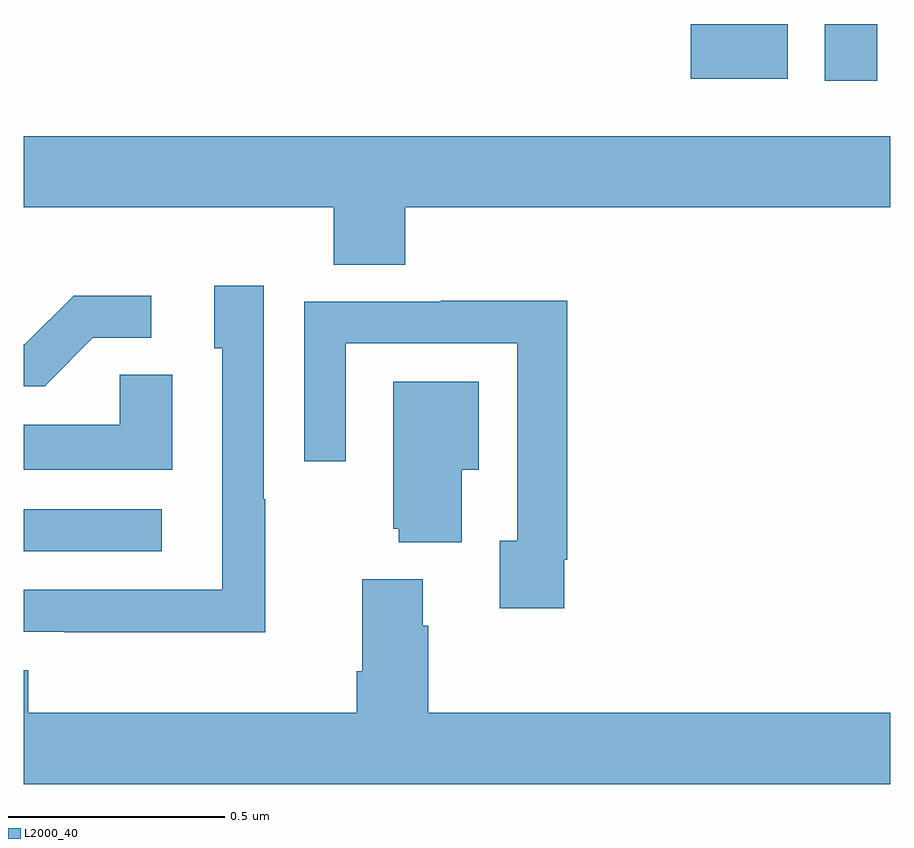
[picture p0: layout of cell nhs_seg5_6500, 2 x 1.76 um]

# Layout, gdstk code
import gdstk
lib = gdstk.Library(unit=1e-6, precision=1e-09)
def R(c, l, rs):  # rectangles x0, y0, x1, y1
    for r in rs: c.add(gdstk.rectangle(r[:2], r[2:], *l))
def P(c, l, *ps):  # polygons
    for p in ps: c.add(gdstk.Polygon(p, *l))
L2000_40 = (2000, 40)

nhs_seg5_6500 = lib.new_cell('nhs_seg5_6500')
R(nhs_seg5_6500, L2000_40, [(196,906.582,196.318,906.678), (197.849,907.668,197.971,907.799), (197.54,907.673,197.764,907.799)])
P(nhs_seg5_6500, L2000_40, [(196.88,907.376),(198,907.376),(198,907.54),(196,907.54),(196,907.376),(196.715,907.376),(196.715,907.243),(196.88,907.243)],
  [(196.557,906.701),(196.554,906.701),(196.554,907.195),(196.439,907.195),(196.439,907.05),(196.458,907.05),(196.458,906.492),(196,906.492),(196,906.396),(196.093,906.396),(196.093,906.395),(196.557,906.395)],
  [(196.159,907.074),(196.294,907.074),(196.294,907.172),(196.115,907.172),(196.002,907.059),(196,907.059),(196,906.963),(196.048,906.963)],
  [(197.248,906.562),(197.255,906.562),(197.255,907.16),(196.963,907.16),(196.963,907.158),(196.647,907.158),(196.647,906.789),(196.743,906.789),(196.743,907.062),(197.139,907.062),(197.139,906.606),(197.099,906.606),(197.099,906.45),(197.248,906.45)],
  [(196.342,906.989),(196.221,906.989),(196.221,906.874),(196,906.874),(196,906.77),(196.342,906.77)],
  [(197.011,906.77),(197.05,906.77),(197.05,906.973),(196.853,906.973),(196.853,906.633),(196.865,906.633),(196.865,906.602),(197.011,906.602)],
  [(198,906.208),(196.934,906.208),(196.934,906.41),(196.921,906.41),(196.921,906.517),(196.781,906.517),(196.781,906.304),(196.769,906.304),(196.769,906.208),(196.01,906.208),(196.01,906.307),(196,906.307),(196,906.044),(198,906.044)])

lib.write_gds('nhs_seg5_6500.gds')
